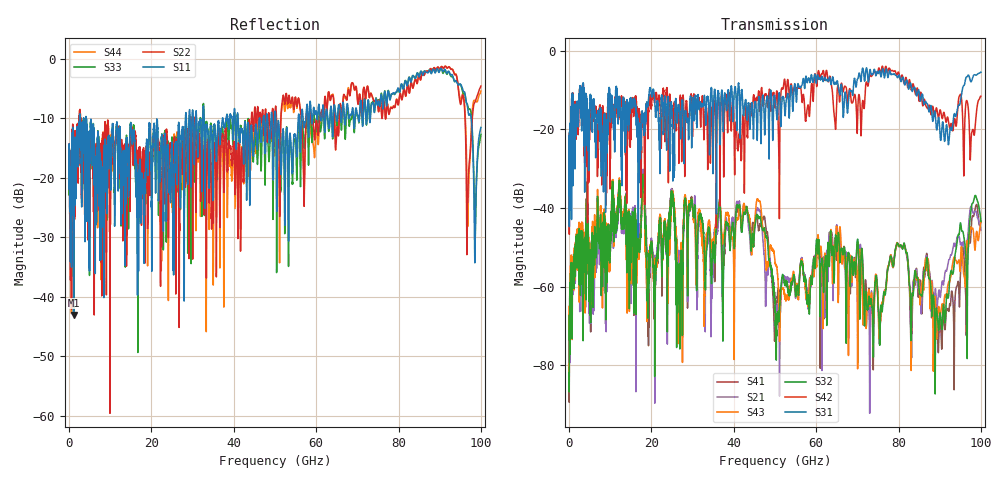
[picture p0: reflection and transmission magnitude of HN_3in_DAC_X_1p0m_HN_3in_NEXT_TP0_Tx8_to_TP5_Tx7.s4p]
# GHz S RI R 45
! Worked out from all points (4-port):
!   4000 points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, 25 MHz to 100 GHz, reference 45 ohm
!   strongest paths, dB at 25 MHz, 25.02 GHz, 50.02 GHz, 75.03 GHz, 100 GHz:
!     S31: -21.6, -15.9, -12.2, -5.6, -5.4
!     S42: -21.7, -14.4, -14.5, -5.1, -11.5
!     S32: -82.0, -35.8, -66.5, -64.6, -43.4
!     S43: -79.7, -35.5, -53.9, -62.5, -43.5
!     S21: -82.3, -35.5, -64.1, -62.8, -45.6
!     S41: -81.6, -35.2, -71.9, -63.5, -43.4
!   lowest |S11| = -43.0 dB at 1.125 GHz (marker M1), VSWR 1.01, Z = 45.5 + j0.342 ohm
!   |S11| at or under -10 dB: 4.225 GHz to 28.26 GHz (24.03 GHz wide, 148 % of centre); 41.04 GHz to 46.23 GHz (5.197 GHz wide, 11.9 % of centre); 50.21 GHz to 55.65 GHz (5.442 GHz wide, 10.3 % of centre)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
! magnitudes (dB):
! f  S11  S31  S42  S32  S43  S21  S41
! 25 MHz  -15.0  -21.6  -21.7  -82.0  -79.7  -82.3  -81.6
! 1.125 GHz  -43.0  -25.4  -25.7  -54.1  -51.7  -56.1  -54.2
! 42.77 GHz  -10.5  -12.9  -17.0  -41.6  -40.8  -41.1  -40.4
! 50.77 GHz  -10.6  -13.5  -18.0  -68.6  -59.5  -65.6  -61.1
! 80.05 GHz  -5.2  -6.2  -5.6  -49.6  -49.8  -49.7  -49.8
! 90.08 GHz  -1.8  -21.1  -15.0  -66.7  -68.0  -62.6  -68.0
! 100 GHz  -11.5  -5.4  -11.5  -43.4  -43.5  -45.6  -43.4
